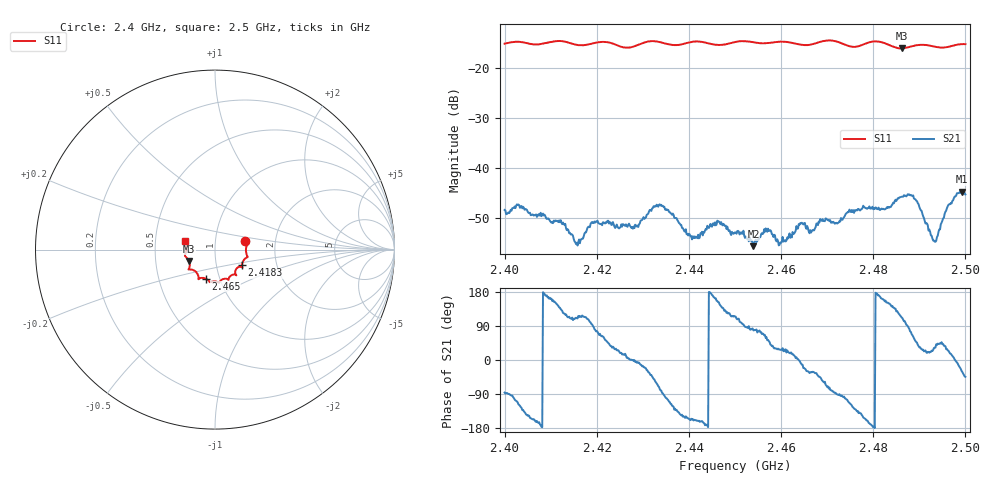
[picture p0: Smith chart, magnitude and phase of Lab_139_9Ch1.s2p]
# Hz S RI R 50
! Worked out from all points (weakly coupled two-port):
!   601 points, 2.4 GHz to 2.5 GHz, reference 50 ohm
!   highest |S21| = -44.67 dB at 2.4992 GHz (marker M1); lowest = -55.6 dB at 2.454 GHz (marker M2)
!   lowest |S11| = -16.1 dB at 2.4862 GHz (marker M3), VSWR 1.37, Z = 37.1 - j4.8 ohm
!   |S11| at or under -10 dB: start of sweep to end of sweep
!   S12 and S22 are empty: the file has one direction only
!   S11 on the Smith chart (normalised r, x): 2.4 GHz: 1.40, +0.13; 2.4183 GHz: 1.33, -0.24; 2.465 GHz: 0.86, -0.29; 2.5 GHz: 0.71, +0.07
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2.4e9  0.1694 0.0461  0.000272 -0.00383  0 0  0 0
2.403167e9  0.1804 0.0324  -0.00205 -0.00376  0 0  0 0
2.416667e9  0.1547 -0.0682  -0.000784 0.00179  0 0  0 0
2.418333e9  0.1499 -0.087  -0.000611 0.00253  0 0  0 0
2.428333e9  0.1128 -0.1225  0.00272 -0.000239  0 0  0 0
2.433333e9  0.1174 -0.1409  0.00148 -0.00386  0 0  0 0
2.440833e9  0.0754 -0.1677  -0.00191 -0.000857  0 0  0 0
2.4465e9  0.0484 -0.1633  -0.0026 0.00137  0 0  0 0
2.45e9  0.0252 -0.1807  -0.000969 0.00208  0 0  0 0
2.454e9  0.0147 -0.1807  0.000343 0.00163  0 0  0 0
2.457167e9  -0.0112 -0.1775  0.00151 0.00199  0 0  0 0
2.46e9  -0.0275 -0.1819  0.00161 0.000805  0 0  0 0
2.465e9  -0.0525 -0.1617  0.00264 -0.00103  0 0  0 0
2.466667e9  -0.0714 -0.1573  0.002 -0.00127  0 0  0 0
2.474833e9  -0.0998 -0.1322  -0.00153 -0.00355  0 0  0 0
2.483333e9  -0.1415 -0.0965  -0.00354 0.0021  0 0  0 0
2.486167e9  -0.1441 -0.0631  -0.00196 0.00481  0 0  0 0
2.489e9  -0.1629 -0.0409  0.00294 0.00397  0 0  0 0
2.493333e9  -0.163 -0.0168  0.00157 0.000992  0 0  0 0
2.496167e9  -0.1616 0.0186  0.00378 0.00179  0 0  0 0
2.499167e9  -0.1681 0.0433  0.00512 -0.0028  0 0  0 0
2.5e9  -0.1672 0.047  0.00392 -0.00383  0 0  0 0
